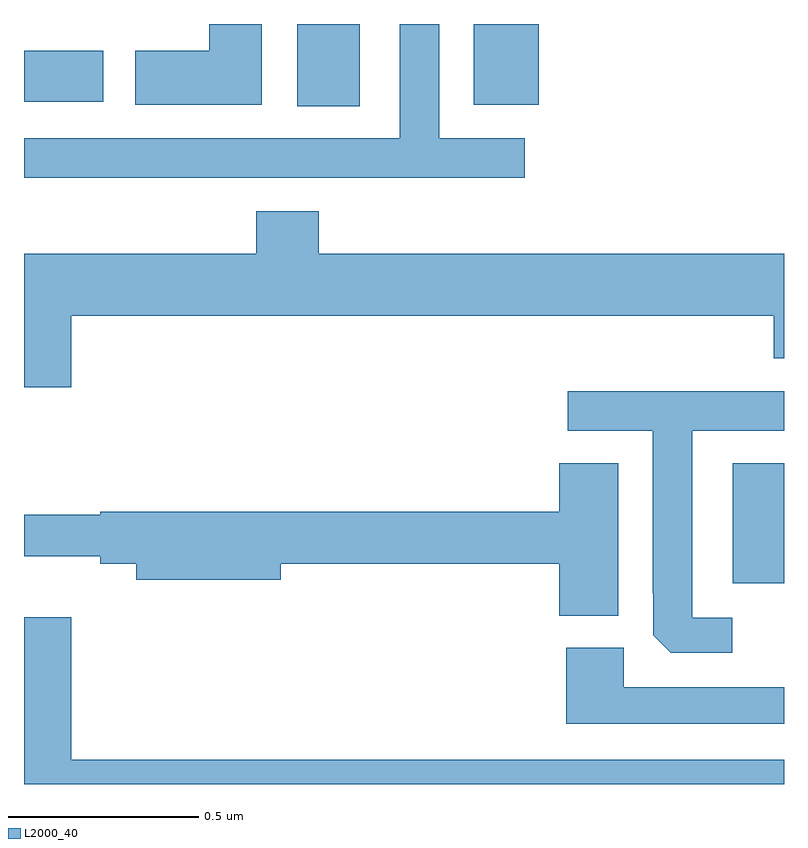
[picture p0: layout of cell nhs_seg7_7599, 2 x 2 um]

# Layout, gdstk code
import gdstk
lib = gdstk.Library(unit=1e-6, precision=1e-09)
def R(c, l, rs):  # rectangles x0, y0, x1, y1
    for r in rs: c.add(gdstk.rectangle(r[:2], r[2:], *l))
def P(c, l, *ps):  # polygons
    for p in ps: c.add(gdstk.Polygon(p, *l))
L2000_40 = (2000, 40)

nhs_seg7_7599 = lib.new_cell('nhs_seg7_7599')
R(nhs_seg7_7599, L2000_40, [(214.865,1050.528,215,1050.844), (213.719,1051.784,213.883,1052), (214.184,1051.787,214.355,1052), (213,1051.796,213.208,1051.93)])
P(nhs_seg7_7599, L2000_40, [(213.625,1052),(213.488,1052),(213.488,1051.93),(213.293,1051.93),(213.293,1051.787),(213.625,1051.787)],
  [(214.318,1051.699),(214.093,1051.699),(214.093,1052),(213.989,1052),(213.989,1051.699),(213,1051.699),(213,1051.595),(214.318,1051.595)],
  [(213.124,1051.232),(214.973,1051.232),(214.973,1051.121),(215,1051.121),(215,1051.396),(213.776,1051.396),(213.776,1051.507),(213.611,1051.507),(213.611,1051.396),(213,1051.396),(213,1051.044),(213.124,1051.044)],
  [(214.864,1050.438),(214.759,1050.438),(214.759,1050.929),(215,1050.929),(215,1051.033),(214.431,1051.033),(214.431,1050.929),(214.655,1050.929),(214.655,1050.502),(214.656,1050.502),(214.656,1050.391),(214.702,1050.345),(214.864,1050.345)],
  [(214.564,1050.844),(214.409,1050.844),(214.409,1050.716),(213.2,1050.716),(213.2,1050.709),(213,1050.709),(213,1050.599),(213.2,1050.599),(213.2,1050.58),(213.296,1050.58),(213.296,1050.538),(213.676,1050.538),(213.676,1050.58),(214.409,1050.58),(214.409,1050.443),(214.564,1050.443)],
  [(215,1050.064),(213.124,1050.064),(213.124,1050.439),(213,1050.439),(213,1050),(215,1050)],
  [(215,1050.255),(214.578,1050.255),(214.578,1050.358),(214.427,1050.358),(214.427,1050.159),(215,1050.159)])

lib.write_gds('nhs_seg7_7599.gds')
